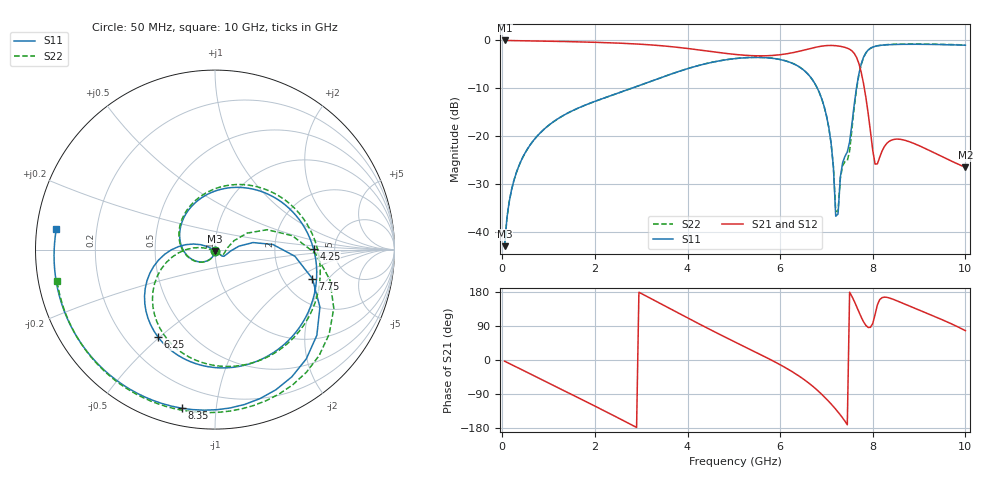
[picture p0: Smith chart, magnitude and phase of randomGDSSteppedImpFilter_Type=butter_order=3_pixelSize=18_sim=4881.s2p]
! freq	dB(S11)	phase(S11)	dB(S12)	phase(S12)
!  dB(S21)	phase(S21)	dB(S22)	phase(S22)
!S-par simulation data
#  GHz  S  DB  R 50
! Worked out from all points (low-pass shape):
!   200 points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, 50 MHz to 10 GHz, reference 50 ohm
!   highest |S21| = 0.00 dB at 50 MHz (marker M1); lowest = -26.5 dB at 10 GHz (marker M2)
!   |S21| within 3 dB of the highest: start of sweep to 5.118 GHz; 5.981 GHz to 7.618 GHz (1.636 GHz wide, 24.1 % of centre)
!   lowest |S11| = -43.0 dB at 50 MHz (marker M3), VSWR 1.01, Z = 50 - j0.711 ohm
!   |S11| at or under -10 dB: start of sweep to 2.793 GHz; 6.804 GHz to 7.647 GHz (843.1 MHz wide, 11.7 % of centre)
!   |S22| runs from -43.0 to -0.8 dB; largest |S21 - S12| = 0
!   S11 on the Smith chart (normalised r, x): 50 MHz: 1.00, -0.01; 4.25 GHz: 3.43, +0.04; 6.25 GHz: 0.34, -0.49; 7.75 GHz: 2.89, -1.38; 8.35 GHz: 0.08, -0.81; 10 GHz: 0.06, +0.06
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0.05  -42.96 -91.1  -0.00 -3.1  -0.00 -3.1  -42.97 -91.1
0.2  -31.19 -101.5  -0.03 -12.2  -0.03 -12.2  -31.19 -101.3
0.5  -23.37 -120.8  -0.06 -30.4  -0.06 -30.4  -23.38 -120.3
1.15  -16.68 -161.3  -0.18 -69.8  -0.18 -69.8  -16.68 -159.8
1.75  -13.67 161.4  -0.32 -106.3  -0.32 -106.3  -13.67 164.1
2.6  -10.66 107.4  -0.60 -159.0  -0.60 -159.0  -10.67 112.6
3.4  -7.86 55.3  -1.08 149.9  -1.08 149.9  -7.86 62.7
4.25  -5.21 0.4  -1.98 95.3  -1.98 95.3  -5.21 9.0
5.05  -3.77 -48.6  -2.94 45.9  -2.94 45.9  -3.76 -39.6
5.7  -3.61 -87.3  -3.20 6.7  -3.20 6.7  -3.60 -78.2
6.25  -4.71 -123.1  -2.60 -30.1  -2.60 -30.1  -4.70 -113.9
6.7  -8.25 -160.0  -1.57 -68.9  -1.57 -68.9  -8.25 -150.6
7.05  -18.16 165.4  -1.05 -109.4  -1.05 -109.4  -18.19 175.7
7.15  -26.45 158.3  -1.06 -122.8  -1.06 -122.8  -26.41 171.3
7.2  -36.71 166.6  -1.10 -129.9  -1.10 -129.9  -35.66 -171.1
7.35  -25.51 -42.5  -1.33 -153.0  -1.33 -153.0  -26.12 -41.3
7.5  -21.17 -5.1  -1.84 179.0  -1.84 179.0  -23.10 8.0
7.75  -4.94 -16.6  -6.63 113.3  -6.63 113.3  -5.05 -2.2
8.05  -1.24 -73.2  -25.83 120.3  -25.83 120.3  -1.22 -60.0
8.35  -0.89 -101.9  -21.10 164.0  -21.10 164.0  -0.85 -88.5
9.1  -0.81 -145.0  -22.42 126.7  -22.42 126.7  -0.76 -130.1
10  -1.00 172.6  -26.51 77.5  -26.51 77.5  -0.94 -168.9
